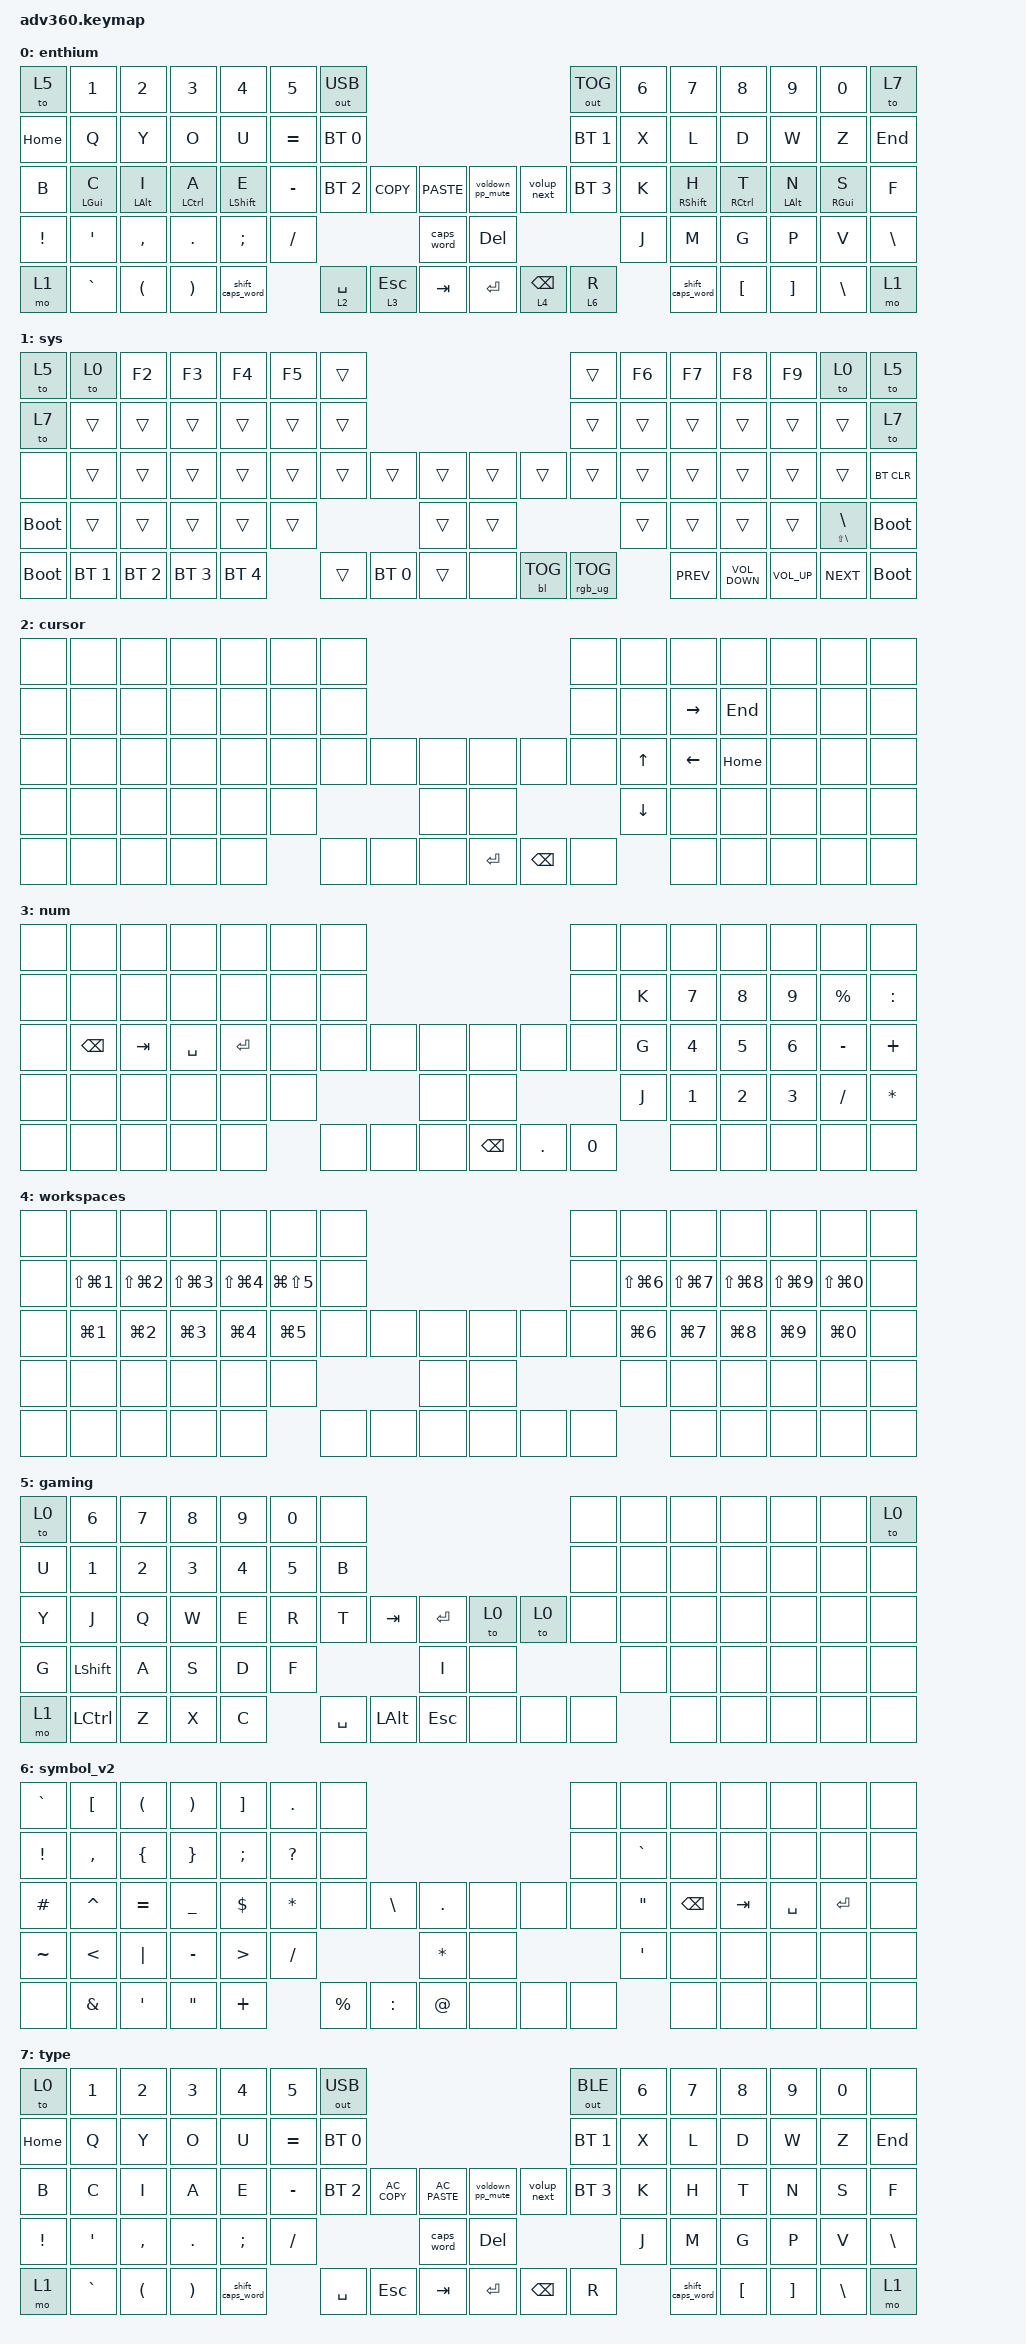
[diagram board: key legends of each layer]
#include <behaviors.dtsi>
#include <dt-bindings/zmk/backlight.h>
#include <dt-bindings/zmk/bt.h>
#include <dt-bindings/zmk/keys.h>
#include <dt-bindings/zmk/outputs.h>
#include <dt-bindings/zmk/rgb.h>

&caps_word {
    continue-list = <UNDERSCORE BACKSPACE DELETE MINUS>;
    mods = <(MOD_LSFT|MOD_RSFT)>;
};

/ {
    behaviors {
        #include "macros.dtsi"
      #include "version.dtsi"
      #ifndef VERSION_MACRO


        #endif

        hml: hml {
            compatible = "zmk,behavior-hold-tap";
            label = "HML";
            bindings = <&kp>, <&kp>;

            #binding-cells = <2>;
            tapping-term-ms = <300>;
            quick-tap-ms = <150>;
            flavor = "balanced";
            hold-trigger-key-positions = <8 9 10 11 12 13 22 23 24 25 26 27 40 41 42 43 44 45 54 55 56 57 58 71 72 73 74 59 75 7 21 39 37 38 53 68 69 70 71>;
            hold-trigger-on-release;
            require-prior-idle-ms = <100>;
        };

        hmr: hmr {
            compatible = "zmk,behavior-hold-tap";
            label = "HMR";
            bindings = <&kp>, <&kp>;

            #binding-cells = <2>;
            tapping-term-ms = <300>;
            quick-tap-ms = <150>;
            flavor = "balanced";
            hold-trigger-key-positions = <0 1 2 3 4 5 14 15 16 17 18 19 28 29 30 31 32 33 47 48 49 50 51 61 62 63 64 6 20 34 46 60 35 36 52 65 66 67>;
            hold-trigger-on-release;
            require-prior-idle-ms = <100>;
        };

        layer_tap_cursor: layer_tap_cursor {
            compatible = "zmk,behavior-hold-tap";
            label = "LAYER_TAP_CURSOR";
            bindings = <&mo>, <&kp>;

            #binding-cells = <2>;
            tapping-term-ms = <175>;
            quick-tap-ms = <175>;
            flavor = "tap-preferred";
            hold-trigger-key-positions = <70 69 41 23 42 24 68 40 54>;
        };

        layer_tap_symbol: layer_tap_symbol {
            compatible = "zmk,behavior-hold-tap";
            label = "LAYER_TAP_SYMBOL";
            bindings = <&mo>, <&kp>;

            #binding-cells = <2>;
            tapping-term-ms = <175>;
            quick-tap-ms = <175>;
            flavor = "tap-preferred";
            hold-trigger-key-positions = <0 1 2 3 4 5 6 14 15 16 17 18 19 20 28 29 30 31 32 33 34 35 36 46 47 48 49 50 51 52 60 61 62 63 64 65 66 67 22 40 54 41 42 43 44>;
        };

        layer_tap_num: layer_tap_num {
            compatible = "zmk,behavior-hold-tap";
            label = "LAYER_TAP_NUM";
            bindings = <&mo>, <&kp>;

            #binding-cells = <2>;
            tapping-term-ms = <175>;
            quick-tap-ms = <175>;
            flavor = "tap-preferred";
            hold-trigger-key-positions = <22 23 24 25 26 40 41 42 43 44 54 55 56 57 58 69 70 68 59 45 27>;
        };

        layer_tap_wksp: layer_tap_wksp {
            compatible = "zmk,behavior-hold-tap";
            label = "LAYER_TAP_WKSP";
            bindings = <&mo>, <&kp>;

            #binding-cells = <2>;
            tapping-term-ms = <175>;
            quick-tap-ms = <175>;
            flavor = "tap-preferred";
            hold-trigger-key-positions = <15 29 30 16 17 31 32 18 19 33 22 40 41 23 24 42 25 43 26 44 51>;
        };

        sticky_shift: sticky_shift {
            compatible = "zmk,behavior-sticky-key";
            label = "STICKY_SHIFT";
            bindings = <&kp>;
            #binding-cells = <1>;
            release-after-ms = <1000>;
            quick-release;
        };

        voldown_pp_mute: voldown_pp_mute {
            compatible = "zmk,behavior-tap-dance";
            label = "VOLDOWN_PP_MUTE";
            #binding-cells = <0>;
            bindings = <&kp C_VOLUME_DOWN>, <&kp C_PLAY_PAUSE>, <&kp C_MUTE>;
        };

        volup_next: volup_next {
            compatible = "zmk,behavior-tap-dance";
            label = "VOLUP_NEXT";
            #binding-cells = <0>;
            bindings = <&kp C_VOLUME_UP>, <&kp C_NEXT>;
        };

        shift_caps_word: shift_caps_word {
            compatible = "zmk,behavior-tap-dance";
            label = "SHIFT_CAPS_WORD";
            #binding-cells = <0>;
            bindings = <&sticky_shift LEFT_SHIFT>, <&caps_word>;
        };
    };

    combos {
        compatible = "zmk,combos";

        capsword {
            bindings = <&caps_word>;
            key-positions = <65 70>;
            timeout-ms = <50>;
            require-prior-idle-ms = <100>;
            layers = <0>;
        };
    };

    keymap {
        compatible = "zmk,keymap";

        enthium {
            bindings = <
&to 5            &kp N1            &kp N2                &kp N3                 &kp N4             &kp N5     &out OUT_USB                                                                                                        &out OUT_TOG           &kp N6  &kp N7              &kp N8        &kp N9           &kp N0         &to 7
&kp HOME         &kp Q             &kp Y                 &kp O                  &kp U              &kp EQUAL  &bt BT_SEL 0                                                                                                        &bt BT_SEL 1           &kp X   &kp L               &kp D         &kp W            &kp Z          &kp END
&kp B            &hml LGUI C       &hml LEFT_ALT I       &hml LCTRL A           &hml LEFT_SHIFT E  &kp MINUS  &bt BT_SEL 2               &kp K_COPY               &kp K_PASTE      &voldown_pp_mute  &volup_next                  &bt BT_SEL 3           &kp K   &hmr RIGHT_SHIFT H  &hmr RCTRL T  &hmr LEFT_ALT N  &hmr RGUI S    &kp F
&kp EXCLAMATION  &kp SINGLE_QUOTE  &kp COMMA             &kp PERIOD             &kp SEMI           &kp SLASH                                                      &caps_word       &kp DELETE                                                            &kp J   &kp M               &kp G         &kp P            &kp V          &kp BACKSLASH
&mo 1            &kp GRAVE         &kp LEFT_PARENTHESIS  &kp RIGHT_PARENTHESIS  &shift_caps_word              &layer_tap_cursor 2 SPACE  &layer_tap_num 3 ESCAPE  &kp TAB          &kp ENTER         &layer_tap_wksp 4 BACKSPACE  &layer_tap_symbol 6 R          &shift_caps_word    &kp LBKT      &kp RBKT         &kp BACKSLASH  &mo 1
            >;
        };

        sys {
            bindings = <
&to 5        &to 0         &kp F2        &kp F3        &kp F4        &kp F5  &trans                                                &trans           &kp F6  &kp F7      &kp F8             &kp F9        &to 0                        &to 5
&to 7        &trans        &trans        &trans        &trans        &trans  &trans                                                &trans           &trans  &trans      &trans             &trans        &trans                       &to 7
&none        &trans        &trans        &trans        &trans        &trans  &trans  &trans        &trans      &trans  &trans      &trans           &trans  &trans      &trans             &trans        &trans                       &bt BT_CLR
&bootloader  &trans        &trans        &trans        &trans        &trans                        &trans      &trans                               &trans  &trans      &trans             &trans        &mt LS(BACKSLASH) BACKSLASH  &bootloader
&bootloader  &bt BT_SEL 1  &bt BT_SEL 2  &bt BT_SEL 3  &bt BT_SEL 4          &trans  &bt BT_SEL 0  &trans      &none   &bl BL_TOG  &rgb_ug RGB_TOG          &kp C_PREV  &kp C_VOLUME_DOWN  &kp C_VOL_UP  &kp C_NEXT                   &bootloader
            >;
        };

        cursor {
            bindings = <
&none  &none  &none  &none  &none  &none  &none                                              &none  &none           &none            &none     &none  &none  &none
&none  &none  &none  &none  &none  &none  &none                                              &none  &none           &kp RIGHT_ARROW  &kp END   &none  &none  &none
&none  &none  &none  &none  &none  &none  &none  &none  &none      &none      &none          &none  &kp UP_ARROW    &kp LEFT_ARROW   &kp HOME  &none  &none  &none
&none  &none  &none  &none  &none  &none                &none      &none                            &kp DOWN_ARROW  &none            &none     &none  &none  &none
&none  &none  &none  &none  &none         &none  &none  &none      &kp ENTER  &kp BACKSPACE  &none                  &none            &none     &none  &none  &none
            >;
        };

        num {
            bindings = <
&none  &none          &none    &none      &none      &none  &none                                               &none   &none  &none         &none   &none   &none        &none
&none  &none          &none    &none      &none      &none  &none                                               &none   &kp K  &kp N7        &kp N8  &kp N9  &kp PERCENT  &kp COLON
&none  &kp BACKSPACE  &kp TAB  &kp SPACE  &kp ENTER  &none  &none  &none  &none      &none          &none       &none   &kp G  &kp NUMBER_4  &kp N5  &kp N6  &kp MINUS    &kp PLUS
&none  &none          &none    &none      &none      &none                &none      &none                              &kp J  &kp N1        &kp N2  &kp N3  &kp FSLH     &kp ASTERISK
&none  &none          &none    &none      &none             &none  &none  &none      &kp BACKSPACE  &kp PERIOD  &kp N0         &none         &none   &none   &none        &none
            >;
        };

        workspaces {
            bindings = <
&none  &none           &none           &none           &none           &none           &none                                  &none  &none           &none           &none           &none           &none           &none
&none  &kp LS(LG(N1))  &kp LS(LG(N2))  &kp LS(LG(N3))  &kp LS(LG(N4))  &kp LG(LS(N5))  &none                                  &none  &kp LS(LG(N6))  &kp LS(LG(N7))  &kp LS(LG(N8))  &kp LS(LG(N9))  &kp LS(LG(N0))  &none
&none  &kp LG(N1)      &kp LG(N2)      &kp LG(N3)      &kp LG(N4)      &kp LG(N5)      &none  &none  &none      &none  &none  &none  &kp LG(N6)      &kp LG(N7)      &kp LG(N8)      &kp LG(N9)      &kp LG(N0)      &none
&none  &none           &none           &none           &none           &none                         &none      &none                &none           &none           &none           &none           &none           &none
&none  &none           &none           &none           &none                           &none  &none  &none      &none  &none  &none                  &none           &none           &none           &none           &none
            >;
        };

        gaming {
            bindings = <
&to 0  &kp NUMBER_6  &kp NUMBER_7  &kp N8  &kp N9  &kp N0  &none                                             &none  &none  &none  &none  &none  &none  &to 0
&kp U  &kp N1        &kp N2        &kp N3  &kp N4  &kp N5  &kp B                                             &none  &none  &none  &none  &none  &none  &none
&kp Y  &kp J         &kp Q         &kp W   &kp E   &kp R   &kp T      &kp TAB   &kp ENTER      &to 0  &to 0  &none  &none  &none  &none  &none  &none  &none
&kp G  &kp LSHFT     &kp A         &kp S   &kp D   &kp F                        &kp I          &none                &none  &none  &none  &none  &none  &none
&mo 1  &kp LCTRL     &kp Z         &kp X   &kp C           &kp SPACE  &kp LALT  &kp ESC        &none  &none  &none         &none  &none  &none  &none  &none
            >;
        };

        symbol_v2 {
            bindings = <
&kp GRAVE  &kp LEFT_BRACKET  &kp LEFT_PARENTHESIS  &kp RIGHT_PARENTHESIS  &kp RIGHT_BRACKET  &kp PERIOD    &none                                                     &none  &none              &none          &none    &none      &none      &none
&kp EXCL   &kp COMMA         &kp LEFT_BRACE        &kp RIGHT_BRACE        &kp SEMI           &kp QUESTION  &none                                                     &none  &kp GRAVE          &none          &none    &none      &none      &none
&kp POUND  &kp CARET         &kp EQUAL             &kp UNDERSCORE         &kp DOLLAR         &kp ASTRK     &none        &kp BACKSLASH  &kp PERIOD      &none  &none  &none  &kp DOUBLE_QUOTES  &kp BACKSPACE  &kp TAB  &kp SPACE  &kp ENTER  &none
&kp TILDE  &kp LESS_THAN     &kp PIPE              &kp MINUS              &kp GREATER_THAN   &kp SLASH                                 &kp ASTRK       &none                &kp SINGLE_QUOTE   &none          &none    &none      &none      &none
&none      &kp AMPS          &kp SINGLE_QUOTE      &kp DOUBLE_QUOTES      &kp PLUS                         &kp PERCENT  &kp COLON      &kp AT          &none  &none  &none                     &none          &none    &none      &none      &none
            >;
        };

        type {
            bindings = <
&to 0            &kp N1            &kp N2                &kp N3                 &kp N4            &kp N5     &out OUT_USB                                                                      &out OUT_BLE  &kp N6  &kp N7            &kp N8    &kp N9    &kp N0         &none
&kp HOME         &kp Q             &kp Y                 &kp O                  &kp U             &kp EQUAL  &bt BT_SEL 0                                                                      &bt BT_SEL 1  &kp X   &kp L             &kp D     &kp W     &kp Z          &kp END
&kp B            &kp C             &kp I                 &kp A                  &kp E             &kp MINUS  &bt BT_SEL 2  &kp C_AC_COPY  &kp C_AC_PASTE      &voldown_pp_mute  &volup_next    &bt BT_SEL 3  &kp K   &kp H             &kp T     &kp N     &kp S          &kp F
&kp EXCLAMATION  &kp SINGLE_QUOTE  &kp COMMA             &kp DOT                &kp SEMI          &kp SLASH                               &caps_word          &kp DELETE                                     &kp J   &kp M             &kp G     &kp P     &kp V          &kp BACKSLASH
&mo 1            &kp GRAVE         &kp LEFT_PARENTHESIS  &kp RIGHT_PARENTHESIS  &shift_caps_word             &kp SPACE     &kp ESC        &kp TAB             &kp ENTER         &kp BACKSPACE  &kp R                 &shift_caps_word  &kp LBKT  &kp RBKT  &kp BACKSLASH  &mo 1
            >;
        };
    };
};
